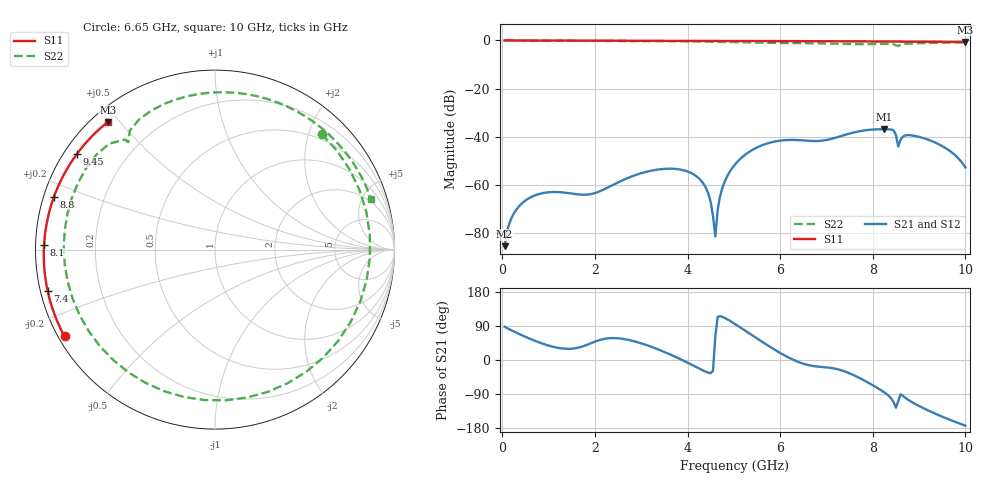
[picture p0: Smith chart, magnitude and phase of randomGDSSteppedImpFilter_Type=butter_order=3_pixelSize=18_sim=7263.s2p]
! freq	dB(S11)	phase(S11)	dB(S12)	phase(S12)
!  dB(S21)	phase(S21)	dB(S22)	phase(S22)
!S-par simulation data
#  GHz  S  DB  R 50
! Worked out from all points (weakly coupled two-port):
!   200 points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, 50 MHz to 10 GHz, reference 50 ohm
!   highest |S21| = -36.85 dB at 8.25 GHz (marker M1); lowest = -85.4 dB at 50 MHz (marker M2)
!   lowest |S11| = -0.6 dB at 10 GHz (marker M3), VSWR 26.99, Z = 2.25 + j23.3 ohm
!   |S11| at or under -10 dB: nowhere
!   |S22| runs from -2.3 to 0.0 dB; largest |S21 - S12| = 0
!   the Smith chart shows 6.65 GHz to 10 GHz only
!   S11 on the Smith chart (normalised r, x): 6.65 GHz: 0.02, -0.27; 7.4 GHz: 0.02, -0.12; 8.1 GHz: 0.02, +0.01; 8.8 GHz: 0.03, +0.16; 9.45 GHz: 0.04, +0.31; 10 GHz: 0.05, +0.47
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0.05  -0.00 -1.3  -85.41 87.6  -85.41 87.6  -0.00 -4.8
0.85  -0.03 -21.2  -63.48 44.0  -63.48 44.0  -0.09 -77.1
1.75  -0.05 -43.2  -64.05 36.5  -64.05 36.5  -0.15 -144.9
2.55  -0.08 -62.0  -58.46 56.7  -58.46 56.7  -0.19 162.1
3.4  -0.11 -81.3  -53.49 26.3  -53.49 26.3  -0.27 102.7
4.3  -0.14 -100.9  -58.36 -25.5  -58.36 -25.5  -0.46 21.9
4.6  -0.15 -107.2  -81.40 62.6  -81.40 62.6  -0.57 -12.0
4.75  -0.16 -110.4  -61.31 114.0  -61.31 114.0  -0.63 -30.5
5.05  -0.18 -116.7  -50.94 93.0  -50.94 93.0  -0.76 -70.2
5.4  -0.20 -124.0  -45.45 64.9  -45.45 64.9  -0.89 -120.0
5.85  -0.22 -133.3  -42.11 29.6  -42.11 29.6  -0.99 172.9
6.3  -0.26 -142.7  -41.31 -0.3  -41.31 -0.3  -1.06 103.5
6.65  -0.28 -150.0  -41.70 -14.6  -41.70 -14.6  -1.14 47.2
6.7  -0.29 -151.1  -41.74 -15.7  -41.74 -15.7  -1.16 38.9
7  -0.31 -157.4  -41.34 -19.5  -41.34 -19.5  -1.29 -11.3
7.4  -0.35 -166.0  -39.18 -30.3  -39.18 -30.3  -1.48 -77.9
8.1  -0.42 178.4  -36.90 -73.8  -36.90 -73.8  -1.49 179.1
8.25  -0.44 174.9  -36.85 -85.6  -36.85 -85.6  -1.44 160.1
8.35  -0.45 172.6  -36.90 -95.3  -36.90 -95.3  -1.42 147.8
8.8  -0.50 161.8  -39.34 -107.9  -39.34 -107.9  -1.27 104.8
9.45  -0.58 145.2  -43.33 -147.0  -43.33 -147.0  -0.92 52.0
10  -0.64 130.0  -52.74 -173.4  -52.74 -173.4  -0.78 17.9
